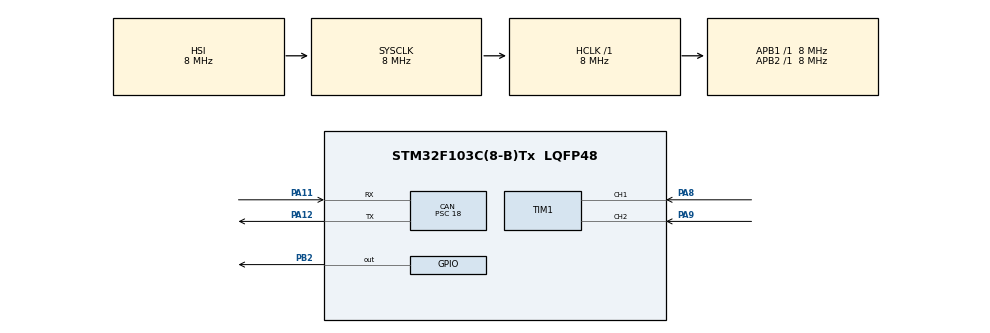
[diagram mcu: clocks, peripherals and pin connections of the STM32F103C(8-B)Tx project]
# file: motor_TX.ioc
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CAN.BS1=CAN_BS1_2TQ
CAN.CalculateBaudRate=111111
CAN.CalculateTimeBit=9000
CAN.CalculateTimeQuantum=2250.0
CAN.Prescaler=18
Mcu.Family=STM32F1
Mcu.Name=STM32F103C(8-B)Tx
Mcu.Package=LQFP48
NVIC.CAN1_RX1_IRQn=true\:0\:0\:false\:false\:true\:true\:true\:true
NVIC.PriorityGroup=NVIC_PRIORITYGROUP_4
PA11.Mode=CAN_Activate
PA11.Signal=CAN_RX
PA12.Mode=CAN_Activate
PA12.Signal=CAN_TX
PA13.Mode=Serial_Wire
PA13.Signal=SYS_JTMS-SWDIO
PA14.Mode=Serial_Wire
PA14.Signal=SYS_JTCK-SWCLK
PA8.Signal=S_TIM1_CH1
PA9.Signal=S_TIM1_CH2
PB2.Signal=GPIO_Output
PD0-OSC_IN.Mode=HSE-External-Oscillator
PD0-OSC_IN.Signal=RCC_OSC_IN
PD1-OSC_OUT.Mode=HSE-External-Oscillator
PD1-OSC_OUT.Signal=RCC_OSC_OUT
ProjectManager.HeapSize=0x200
ProjectManager.StackSize=0x400
ProjectManager.TargetToolchain=STM32CubeIDE
RCC.AHBFreq_Value=8000000
RCC.APB1Freq_Value=8000000
RCC.APB1TimFreq_Value=8000000
RCC.APB2Freq_Value=8000000
RCC.APB2TimFreq_Value=8000000
RCC.HCLKFreq_Value=8000000
RCC.PLLMUL=RCC_PLL_MUL9
RCC.PLLSourceVirtual=RCC_PLLSOURCE_HSE
RCC.SYSCLKFreq_VALUE=8000000
RCC.USBFreq_Value=72000000
SH.S_TIM1_CH1.0=TIM1_CH1,Encoder_Interface
SH.S_TIM1_CH2.0=TIM1_CH2,Encoder_Interface
TIM1.EncoderMode=TIM_ENCODERMODE_TI12
board=custom

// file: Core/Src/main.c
/* USER CODE BEGIN Header */
/**
  ******************************************************************************
  * @file           : main.c
  * @brief          : Main program body
  ******************************************************************************
  * @attention
  *
  * Copyright (c) 2025 STMicroelectronics.
  * All rights reserved.
  *
  * This software is licensed under terms that can be found in the LICENSE file
  * in the root directory of this software component.
  * If no LICENSE file comes with this software, it is provided AS-IS.
  *
  ******************************************************************************
  */
/* USER CODE END Header */
#include "main.h"

/* USER CODE BEGIN PD */

#define MSG_ID	0x100

/* USER CODE END PD */

CAN_HandleTypeDef hcan;

TIM_HandleTypeDef htim1;

void SystemClock_Config(void);
static void MX_GPIO_Init(void);
static void MX_CAN_Init(void);
static void MX_TIM1_Init(void);

/* USER CODE BEGIN 0 */

CAN_TxHeaderTypeDef TxHeader;

uint32_t TxMailbox;
uint8_t TxData[8];

/* USER CODE END 0 */

int main(void)
{

  /* MCU Configuration--------------------------------------------------------*/

  /* Reset of all peripherals, Initializes the Flash interface and the Systick. */
  HAL_Init();

  /* Configure the system clock */
  SystemClock_Config();

  /* Initialize all configured peripherals */
  MX_GPIO_Init();
  MX_CAN_Init();
  MX_TIM1_Init();
  /* USER CODE BEGIN 2 */

  HAL_CAN_Start(&hcan);
  HAL_TIM_Encoder_Start(&htim1, TIM_CHANNEL_ALL);
  TxHeader.DLC = 4;
  TxHeader.ExtId = 0;
  TxHeader.IDE = CAN_ID_STD;
  TxHeader.RTR = CAN_RTR_DATA;
  TxHeader.StdId = MSG_ID;
  TxHeader.TransmitGlobalTime = DISABLE;
  /* USER CODE END 2 */

  /* Infinite loop */
  /* USER CODE BEGIN WHILE */
  while (1)
  {
	  int32_t encoder_val = __HAL_TIM_GET_COUNTER(&htim1);

	          // Pack into 4 bytes (big-endian)
	          TxData[0] = (encoder_val >> 24) & 0xFF;
	          TxData[1] = (encoder_val >> 16) & 0xFF;
	          TxData[2] = (encoder_val >> 8) & 0xFF;
	          TxData[3] = encoder_val & 0xFF;

	          HAL_CAN_AddTxMessage(&hcan, &TxHeader, TxData, &TxMailbox);

	          HAL_Delay(10);  // 100 Hz transmit rate
    /* USER CODE END WHILE */

  }
}

void SystemClock_Config(void)
{
  RCC_OscInitTypeDef RCC_OscInitStruct = {0};
  RCC_ClkInitTypeDef RCC_ClkInitStruct = {0};

  /** Initializes the RCC Oscillators according to the specified parameters
  * in the RCC_OscInitTypeDef structure.
  */
  RCC_OscInitStruct.OscillatorType = RCC_OSCILLATORTYPE_HSI;
  RCC_OscInitStruct.HSIState = RCC_HSI_ON;
  RCC_OscInitStruct.HSICalibrationValue = RCC_HSICALIBRATION_DEFAULT;
  RCC_OscInitStruct.PLL.PLLState = RCC_PLL_NONE;
  if (HAL_RCC_OscConfig(&RCC_OscInitStruct) != HAL_OK)
  {
    Error_Handler();
  }

  /** Initializes the CPU, AHB and APB buses clocks
  */
  RCC_ClkInitStruct.ClockType = RCC_CLOCKTYPE_HCLK|RCC_CLOCKTYPE_SYSCLK
                              |RCC_CLOCKTYPE_PCLK1|RCC_CLOCKTYPE_PCLK2;
  RCC_ClkInitStruct.SYSCLKSource = RCC_SYSCLKSOURCE_HSI;
  RCC_ClkInitStruct.AHBCLKDivider = RCC_SYSCLK_DIV1;
  RCC_ClkInitStruct.APB1CLKDivider = RCC_HCLK_DIV1;
  RCC_ClkInitStruct.APB2CLKDivider = RCC_HCLK_DIV1;

  if (HAL_RCC_ClockConfig(&RCC_ClkInitStruct, FLASH_LATENCY_0) != HAL_OK)
  {
    Error_Handler();
  }
}

static void MX_CAN_Init(void)
{

  hcan.Instance = CAN1;
  hcan.Init.Prescaler = 18;
  hcan.Init.Mode = CAN_MODE_NORMAL;
  hcan.Init.SyncJumpWidth = CAN_SJW_1TQ;
  hcan.Init.TimeSeg1 = CAN_BS1_2TQ;
  hcan.Init.TimeSeg2 = CAN_BS2_1TQ;
  hcan.Init.TimeTriggeredMode = DISABLE;
  hcan.Init.AutoBusOff = DISABLE;
  hcan.Init.AutoWakeUp = DISABLE;
  hcan.Init.AutoRetransmission = ENABLE;
  hcan.Init.ReceiveFifoLocked = DISABLE;
  hcan.Init.TransmitFifoPriority = DISABLE;
  if (HAL_CAN_Init(&hcan) != HAL_OK)
  {
    Error_Handler();
  }
  /* USER CODE BEGIN CAN_Init 2 */

  CAN_FilterTypeDef filterConfig;

  filterConfig.FilterBank = 0;
  filterConfig.FilterMode = CAN_FILTERMODE_IDMASK;
  filterConfig.FilterScale = CAN_FILTERSCALE_32BIT;
  filterConfig.FilterIdHigh = 0x0000;
  filterConfig.FilterIdLow = 0x0000;
  filterConfig.FilterMaskIdHigh = 0x0000;
  filterConfig.FilterMaskIdLow = 0x0000;
  filterConfig.FilterFIFOAssignment = CAN_RX_FIFO1;
  filterConfig.FilterActivation = ENABLE;
  filterConfig.SlaveStartFilterBank = 13;

  HAL_CAN_ConfigFilter(&hcan, &filterConfig);
  /* USER CODE END CAN_Init 2 */

}

static void MX_TIM1_Init(void)
{

  TIM_Encoder_InitTypeDef sConfig = {0};
  TIM_MasterConfigTypeDef sMasterConfig = {0};

  htim1.Instance = TIM1;
  htim1.Init.Prescaler = 0;
  htim1.Init.CounterMode = TIM_COUNTERMODE_UP;
  htim1.Init.Period = 65535;
  htim1.Init.ClockDivision = TIM_CLOCKDIVISION_DIV1;
  htim1.Init.RepetitionCounter = 0;
  htim1.Init.AutoReloadPreload = TIM_AUTORELOAD_PRELOAD_DISABLE;
  sConfig.EncoderMode = TIM_ENCODERMODE_TI12;
  sConfig.IC1Polarity = TIM_ICPOLARITY_RISING;
  sConfig.IC1Selection = TIM_ICSELECTION_DIRECTTI;
  sConfig.IC1Prescaler = TIM_ICPSC_DIV1;
  sConfig.IC1Filter = 0;
  sConfig.IC2Polarity = TIM_ICPOLARITY_RISING;
  sConfig.IC2Selection = TIM_ICSELECTION_DIRECTTI;
  sConfig.IC2Prescaler = TIM_ICPSC_DIV1;
  sConfig.IC2Filter = 0;
  if (HAL_TIM_Encoder_Init(&htim1, &sConfig) != HAL_OK)
  {
    Error_Handler();
  }
  sMasterConfig.MasterOutputTrigger = TIM_TRGO_RESET;
  sMasterConfig.MasterSlaveMode = TIM_MASTERSLAVEMODE_DISABLE;
  if (HAL_TIMEx_MasterConfigSynchronization(&htim1, &sMasterConfig) != HAL_OK)
  {
    Error_Handler();
  }

}

static void MX_GPIO_Init(void)
{
  GPIO_InitTypeDef GPIO_InitStruct = {0};

  /* GPIO Ports Clock Enable */
  __HAL_RCC_GPIOD_CLK_ENABLE();
  __HAL_RCC_GPIOB_CLK_ENABLE();
  __HAL_RCC_GPIOA_CLK_ENABLE();

  /*Configure GPIO pin Output Level */
  HAL_GPIO_WritePin(GPIOB, GPIO_PIN_2, GPIO_PIN_RESET);

  /*Configure GPIO pin : PB2 */
  GPIO_InitStruct.Pin = GPIO_PIN_2;
  GPIO_InitStruct.Mode = GPIO_MODE_OUTPUT_PP;
  GPIO_InitStruct.Pull = GPIO_NOPULL;
  GPIO_InitStruct.Speed = GPIO_SPEED_FREQ_LOW;
  HAL_GPIO_Init(GPIOB, &GPIO_InitStruct);

}

void Error_Handler(void)
{
  __disable_irq();
  while (1)
  {
  }
}
